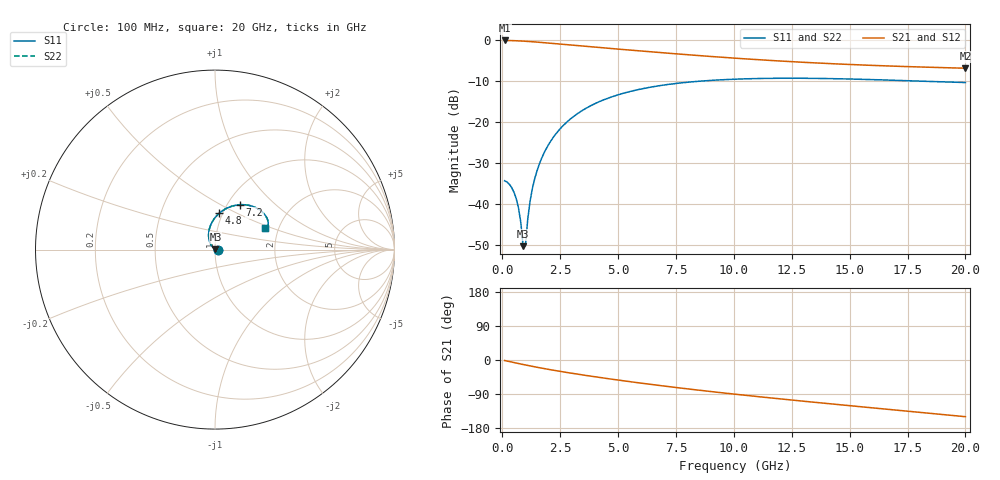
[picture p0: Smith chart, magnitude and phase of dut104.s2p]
! Created with skrf 1.9.0 (http://scikit-rf.org).
# GHz S RI R 50.0
!freq ReS11 ImS11 ReS21 ImS21 ReS12 ImS12 ReS22 ImS22
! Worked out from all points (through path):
!   200 points, 100 MHz to 20 GHz, reference 50 ohm
!   highest |S21| = -0.17 dB at 100 MHz (marker M1); lowest = -6.9 dB at 20 GHz (marker M2)
!   group delay of S21, straight-line fit = 19.6 ps
!   lowest |S11| = -50.4 dB at 900 MHz (marker M3), VSWR 1.01, Z = 50.3 + j0.12 ohm
!   |S11| at or under -10 dB: start of sweep to 8.8 GHz; 17.5 GHz to end of sweep
!   |S22| runs from -50.4 to -9.4 dB; largest |S21 - S12| = 2.7e-15
!   S11 on the Smith chart (normalised r, x): 100 MHz: 1.04, -0.00; 4.8 GHz: 0.96, +0.41; 7.2 GHz: 1.14, +0.62; 20 GHz: 1.69, +0.44
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0.1  0.019 -0.000512  0.9803 -0.0233  0.9803 -0.0233  0.019 -0.000512
0.4  0.0157 -0.00193  0.9725 -0.0917  0.9725 -0.0917  0.0157 -0.00193
0.6  0.0114 -0.00173  0.9627 -0.1358  0.9627 -0.1358  0.0114 -0.00173
0.7  0.00876 -0.00115  0.9565 -0.1571  0.9565 -0.1571  0.00876 -0.00115
0.8  0.00587 -0.00018  0.9495 -0.178  0.9495 -0.178  0.00587 -0.00018
0.9  0.00277 0.0012  0.9418 -0.1983  0.9418 -0.1983  0.00277 0.0012
1  -0.00048 0.003  0.9335 -0.218  0.9335 -0.218  -0.00048 0.003
1.1  -0.00382 0.00524  0.9246 -0.2372  0.9246 -0.2372  -0.00382 0.00524
1.2  -0.0072 0.00792  0.9152 -0.2557  0.9152 -0.2557  -0.0072 0.00792
1.3  -0.0106 0.011  0.9053 -0.2736  0.9053 -0.2736  -0.0106 0.011
1.5  -0.017 0.0185  0.8843 -0.3075  0.8843 -0.3075  -0.017 0.0185
1.7  -0.0228 0.0275  0.8621 -0.339  0.8621 -0.339  -0.0228 0.0275
2  -0.0298 0.0433  0.8272 -0.3819  0.8272 -0.3819  -0.0298 0.0433
2.4  -0.035 0.0674  0.7788 -0.4317  0.7788 -0.4317  -0.035 0.0674
3.5  -0.0239 0.1373  0.6431 -0.5341  0.6431 -0.5341  -0.0239 0.1373
4.8  0.0239 0.2027  0.4868 -0.6064  0.4868 -0.6064  0.0239 0.2027
6.8  0.1198 0.2478  0.2689 -0.6444  0.2689 -0.6444  0.1198 0.2478
7.2  0.1381 0.2499  0.2298 -0.6441  0.2298 -0.6441  0.1381 0.2499
10.1  0.2407 0.2265  -0.00602 -0.5944  -0.00602 -0.5944  0.2407 0.2265
13.4  0.2909 0.1719  -0.1884 -0.4885  -0.1884 -0.4885  0.2909 0.1719
16.7  0.2937 0.131  -0.3101 -0.364  -0.3101 -0.364  0.2937 0.131
20  0.2762 0.1182  -0.3877 -0.2274  -0.3877 -0.2274  0.2762 0.1182
